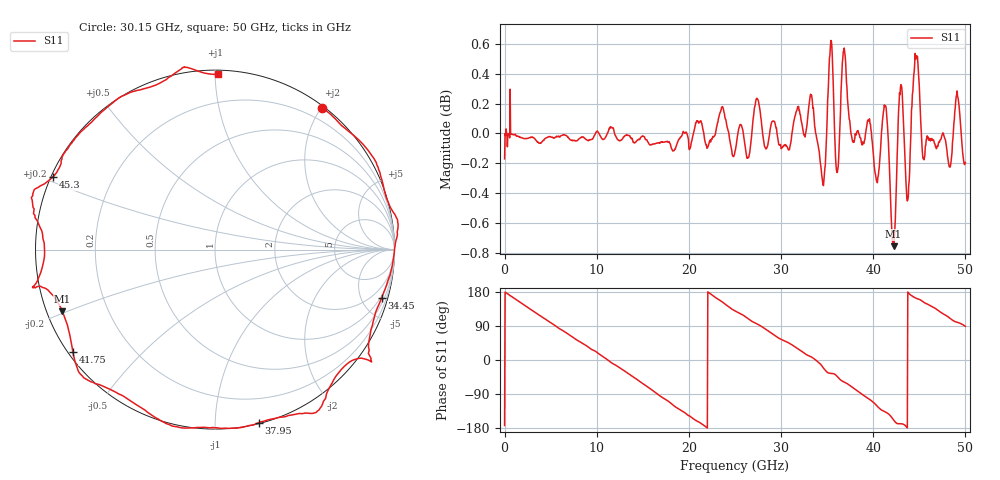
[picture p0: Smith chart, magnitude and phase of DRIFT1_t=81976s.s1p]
!Created with skrf (http://scikit-rf.org).
# Hz S RI R 50.0
!freq ReS11 ImS11
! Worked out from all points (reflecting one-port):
!   1001 points, 300 kHz to 50 GHz, reference 50 ohm
!   lowest |S11| = -0.8 dB at 42.2 GHz (marker M1), VSWR 23.08, Z = 2.25 - j9.71 ohm
!   phase of S11 starts at -173 deg and turns -818 deg over the sweep
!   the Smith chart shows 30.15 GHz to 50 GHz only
!   S11 on the Smith chart (normalised r, x): 30.15 GHz: 0.03, +2.01; 34.45 GHz: 0.86, -6.96; 37.95 GHz: 0.01, -1.28; 41.75 GHz: 0.01, -0.32; 45.3 GHz: 0.01, +0.21; 50 GHz: 0.02, +1.02
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300000  -0.973 -0.1224
1.450291e9  -0.9125 0.4039
3.25028e9  -0.5931 0.8002
6.250262e9  0.1986 0.9786
9.500243e9  0.8874 0.4516
1.250022e10  0.9301 -0.3516
1.580021e10  0.2424 -0.9611
1.74002e10  -0.223 -0.9681
1.875019e10  -0.5981 -0.7926
2.165017e10  -0.9908 -0.121
2.345016e10  -0.9298 0.4128
2.500015e10  -0.6267 0.7617
2.745014e10  -0.0823 1.023
3.015012e10  0.5974 0.7889
3.125011e10  0.7823 0.6282
3.32001e10  1.017 0.1645
3.445009e10  0.9285 -0.2682
3.520009e10  0.865 -0.5978
3.750008e10  0.3766 -0.933
3.795007e10  0.2441 -0.9641
3.965006e10  -0.2549 -0.9748
4.175005e10  -0.7924 -0.5692
4.220005e10  -0.8501 -0.3437
4.290004e10  -1.009 -0.2081
4.375004e10  -0.9503 0.0111
4.530003e10  -0.9021 0.4061
4.765001e10  -0.5135 0.8565
5e10  0.0193 0.9778
